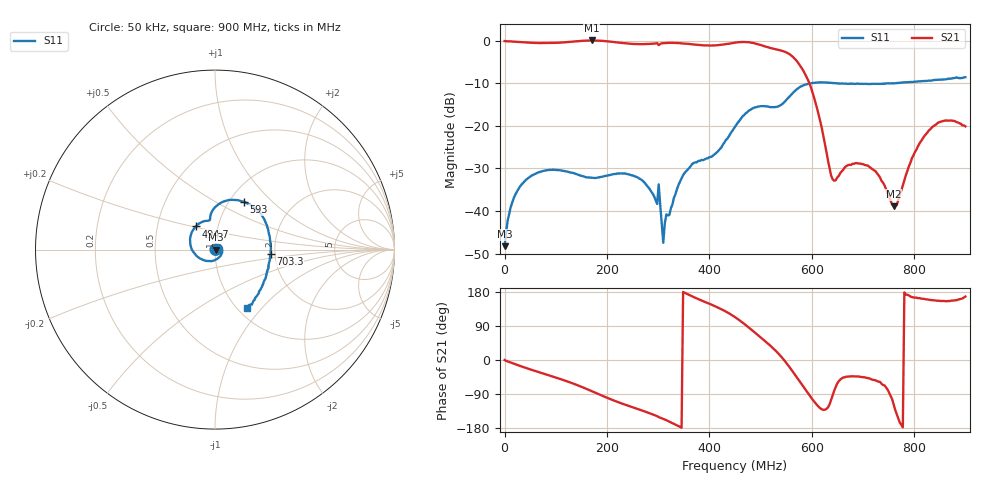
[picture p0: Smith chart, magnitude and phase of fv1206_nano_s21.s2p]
# Hz S RI R 50
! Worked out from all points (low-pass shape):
!   303 points, 50 kHz to 900 MHz, reference 50 ohm
!   highest |S21| = 0.02 dB at 169.9 MHz (marker M1); lowest = -38.8 dB at 759.9 MHz (marker M2)
!   |S21| within 3 dB of the highest: start of sweep to 553.2 MHz
!   lowest |S11| = -48.2 dB at 50 kHz (marker M3), VSWR 1.01, Z = 50.4 - j0.0782 ohm
!   |S11| at or under -10 dB: start of sweep to 600.1 MHz; 645.7 MHz to 763.9 MHz (118.2 MHz wide, 16.8 % of centre)
!   S12 and S22 are empty: the file has one direction only
!   S11 on the Smith chart (normalised r, x): 50 kHz: 1.01, -0.00; 494.7 MHz: 0.78, +0.21; 593 MHz: 1.16, +0.69; 703.3 MHz: 1.90, -0.10; 900 MHz: 1.11, -0.84
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50000  0.0038 -0.000776  0.9863 -0.00142  0 0  0 0
1.19685e7  0.00993 0.00503  0.9691 -0.113  0 0  0 0
4.17648e7  0.0231 0.00222  0.8857 -0.341  0 0  0 0
1.520111e8  -0.0184 -0.0179  0.311 -0.9426  0 0  0 0
1.698889e8  -0.0244 -0.00264  0.1406 -0.9921  0 0  0 0
2.592778e8  0.0234 0.00875  -0.5708 -0.7053  0 0  0 0
2.980131e8  0.00889 -0.00823  -0.7922 -0.4919  0 0  0 0
3.009933e8  0.0167 -0.0119  -0.7696 -0.4323  0 0  0 0
3.099336e8  0.0016 -0.00394  -0.8472 -0.387  0 0  0 0
3.486753e8  -0.000375 0.0264  -0.9227 0.00668  0 0  0 0
4.529799e8  -0.0942 -0.0421  -0.3303 0.8879  0 0  0 0
4.947018e8  -0.1075 0.1288  0.3713 0.827  0 0  0 0
5.45364e8  -0.0264 0.1855  0.7455 0.00872  0 0  0 0
5.69205e8  0.0336 0.2615  0.432 -0.4003  0 0  0 0
5.930461e8  0.1594 0.2668  0.00701 -0.3398  0 0  0 0
6.019867e8  0.2005 0.247  -0.0633 -0.2314  0 0  0 0
6.407284e8  0.2908 0.1265  -0.00142 -0.0235  0 0  0 0
7.033111e8  0.3104 -0.0227  0.0243 -0.0248  0 0  0 0
7.509932e8  0.2962 -0.1077  0.00101 -0.0149  0 0  0 0
7.599336e8  0.2893 -0.122  -0.00532 -0.0101  0 0  0 0
8.284766e8  0.2512 -0.2273  -0.0822 0.0315  0 0  0 0
8.999998e8  0.1808 -0.3241  -0.0962 0.0214  0 0  0 0
